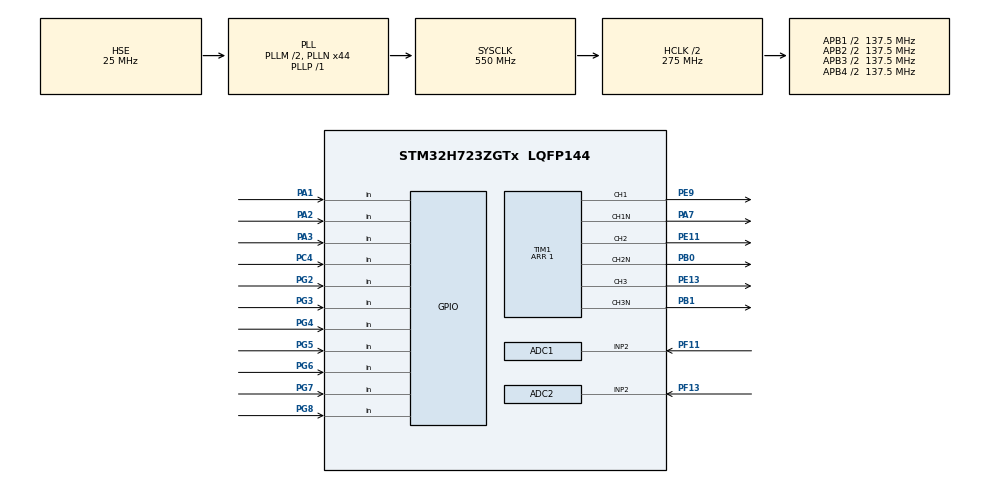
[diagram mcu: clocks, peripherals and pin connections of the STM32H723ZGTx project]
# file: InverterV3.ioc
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ADC1.Channel-3\#ChannelRegularConversion=ADC_CHANNEL_2
ADC1.ClockPrescaler=ADC_CLOCK_ASYNC_DIV2
ADC1.NbrOfConversionFlag=1
ADC1.OffsetNumber-3\#ChannelRegularConversion=ADC_OFFSET_NONE
ADC1.OffsetSignedSaturation-3\#ChannelRegularConversion=DISABLE
ADC1.Rank-3\#ChannelRegularConversion=1
ADC1.SamplingTime-3\#ChannelRegularConversion=ADC_SAMPLETIME_1CYCLE_5
ADC1.master=1
ADC2.Channel-0\#ChannelRegularConversion=ADC_CHANNEL_2
ADC2.ClockPrescaler=ADC_CLOCK_ASYNC_DIV2
ADC2.NbrOfConversionFlag=1
ADC2.OffsetNumber-0\#ChannelRegularConversion=ADC_OFFSET_NONE
ADC2.OffsetSignedSaturation-0\#ChannelRegularConversion=DISABLE
ADC2.Rank-0\#ChannelRegularConversion=1
ADC2.SamplingTime-0\#ChannelRegularConversion=ADC_SAMPLETIME_1CYCLE_5
CORTEX_M7.default_mode_Activation=1
Mcu.Family=STM32H7
Mcu.Name=STM32H723ZGTx
Mcu.Package=LQFP144
NVIC.PriorityGroup=NVIC_PRIORITYGROUP_4
PA1.Signal=GPIO_Input
PA2.Signal=GPIO_Input
PA3.Signal=GPIO_Input
PA7.Mode=PWM Generation1 CH1 CH1N
PA7.Signal=TIM1_CH1N
PB0.Mode=PWM Generation2 CH2 CH2N
PB0.Signal=TIM1_CH2N
PB1.Mode=PWM Generation3 CH3 CH3N
PB1.Signal=TIM1_CH3N
PC14-OSC32_IN.Mode=LSE-External-Oscillator
PC14-OSC32_IN.Signal=RCC_OSC32_IN
PC15-OSC32_OUT.Mode=LSE-External-Oscillator
PC15-OSC32_OUT.Signal=RCC_OSC32_OUT
PC4.Signal=GPIO_Input
PE11.Signal=S_TIM1_CH2
PE13.Signal=S_TIM1_CH3
PE9.Signal=S_TIM1_CH1
PF11.Mode=IN2-Single-Ended
PF11.Signal=ADC1_INP2
PF13.Mode=IN2-Single-Ended
PF13.Signal=ADC2_INP2
PG2.Signal=GPIO_Input
PG3.Signal=GPIO_Input
PG4.Signal=GPIO_Input
PG5.Signal=GPIO_Input
PG6.Signal=GPIO_Input
PG7.Signal=GPIO_Input
PG8.Signal=GPIO_Input
PH0-OSC_IN.Mode=HSE-External-Oscillator
PH0-OSC_IN.Signal=RCC_OSC_IN
PH1-OSC_OUT.Mode=HSE-External-Oscillator
PH1-OSC_OUT.Signal=RCC_OSC_OUT
ProjectManager.HeapSize=0x200
ProjectManager.StackSize=0x400
ProjectManager.TargetToolchain=STM32CubeIDE
RCC.ADCFreq_Value=160000000
RCC.APB1Freq_Value=137500000
RCC.APB2Freq_Value=137500000
RCC.APB3Freq_Value=137500000
RCC.APB4Freq_Value=137500000
RCC.CortexFreq_Value=550000000
RCC.D1PPRE=RCC_APB3_DIV2
RCC.D2PPRE1=RCC_APB1_DIV2
RCC.D2PPRE2=RCC_APB2_DIV2
RCC.D3PPRE=RCC_APB4_DIV2
RCC.DIVM1=2
RCC.DIVM2=5
RCC.DIVM3=2
RCC.DIVN1=44
RCC.DIVN2=64
RCC.DIVN3=40
RCC.DIVP1=1
RCC.HCLKFreq_Value=275000000
RCC.HPRE=RCC_HCLK_DIV2
RCC.PLL2FRACN=0
RCC.PLL3FRACN=0
RCC.PLLFRACN=0
RCC.PLLSourceVirtual=RCC_PLLSOURCE_HSE
RCC.SPI123CLockSelection=RCC_SPI123CLKSOURCE_PLL3
RCC.SYSCLKFreq_VALUE=550000000
RCC.SYSCLKSource=RCC_SYSCLKSOURCE_PLLCLK
RCC.USBFreq_Value=275000000
SH.S_TIM1_CH1.0=TIM1_CH1,PWM Generation1 CH1 CH1N
SH.S_TIM1_CH2.0=TIM1_CH2,PWM Generation2 CH2 CH2N
SH.S_TIM1_CH3.0=TIM1_CH3,PWM Generation3 CH3 CH3N
TIM1.Channel-PWM\ Generation1\ CH1\ CH1N=TIM_CHANNEL_1
TIM1.Channel-PWM\ Generation2\ CH2\ CH2N=TIM_CHANNEL_2
TIM1.Channel-PWM\ Generation3\ CH3\ CH3N=TIM_CHANNEL_3
TIM1.Period=1
TIM2.Prescaler=274
VP_MEMORYMAP_VS_MEMORYMAP.Mode=CurAppReg
VP_TIM1_VS_ClockSourceINT.Mode=Internal
VP_TIM2_VS_ClockSourceINT.Mode=Internal
board=custom

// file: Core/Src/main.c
/* USER CODE BEGIN Header */
/**
  ******************************************************************************
  * @file           : main.c
  * @brief          : Main program body
  ******************************************************************************
  * @attention
  *
  * Copyright (c) 2026 STMicroelectronics.
  * All rights reserved.
  *
  * This software is licensed under terms that can be found in the LICENSE file
  * in the root directory of this software component.
  * If no LICENSE file comes with this software, it is provided AS-IS.
  *
  ******************************************************************************
  */
/* USER CODE END Header */
#include "main.h"

/* USER CODE BEGIN Includes */

#include "current_sensing.h"
#include "cooling.h"
/* USER CODE END Includes */

ADC_HandleTypeDef hadc1;
ADC_HandleTypeDef hadc2;

TIM_HandleTypeDef htim1;
TIM_HandleTypeDef htim2;

void SystemClock_Config(void);
void PeriphCommonClock_Config(void);
static void MPU_Config(void);
static void MX_GPIO_Init(void);
static void MX_TIM1_Init(void);
static void MX_TIM2_Init(void);
static void MX_ADC1_Init(void);
static void MX_ADC2_Init(void);

int main(void)
{

  /* USER CODE BEGIN 1 */
	const double interval_duration = 1.0/1000000.0;
	double dt;
  /* USER CODE END 1 */

  /* MPU Configuration--------------------------------------------------------*/
  MPU_Config();

  /* MCU Configuration--------------------------------------------------------*/

  /* Reset of all peripherals, Initializes the Flash interface and the Systick. */
  HAL_Init();

  /* Configure the system clock */
  SystemClock_Config();

  /* Configure the peripherals common clocks */
  PeriphCommonClock_Config();

  /* Initialize all configured peripherals */
  MX_GPIO_Init();
  MX_TIM1_Init();
  MX_TIM2_Init();
  MX_ADC1_Init();
  MX_ADC2_Init();
  /* USER CODE BEGIN 2 */

    initialize_current_sensing();
    cooling_initialize();
    controller_initialize();

	HAL_TIM_PWM_Start(&htim1, TIM_CHANNEL_1);
	HAL_TIM_PWM_Start(&htim1, TIM_CHANNEL_2);
	HAL_TIM_PWM_Start(&htim1, TIM_CHANNEL_3);
	HAL_TIMEx_PWMN_Start(&htim1, TIM_CHANNEL_1);
	HAL_TIMEx_PWMN_Start(&htim1, TIM_CHANNEL_2);
	HAL_TIMEx_PWMN_Start(&htim1, TIM_CHANNEL_3);

	HAL_TIM_Base_Start_IT(&htim2);

	turn_on_fan();
  /* USER CODE END 2 */

  /* Infinite loop */
  /* USER CODE BEGIN WHILE */
  while (1)
  {
	  dt = TIM2->CNT * interval_duration;
	  TIM2->CNT = 0;
	  update_stats(dt);
	  modulate();
    /* USER CODE END WHILE */

  }
}

void SystemClock_Config(void)
{
  RCC_OscInitTypeDef RCC_OscInitStruct = {0};
  RCC_ClkInitTypeDef RCC_ClkInitStruct = {0};

  /** Supply configuration update enable
  */
  HAL_PWREx_ConfigSupply(PWR_LDO_SUPPLY);

  /** Configure the main internal regulator output voltage
  */
  __HAL_PWR_VOLTAGESCALING_CONFIG(PWR_REGULATOR_VOLTAGE_SCALE0);

  while(!__HAL_PWR_GET_FLAG(PWR_FLAG_VOSRDY)) {}

  /** Initializes the RCC Oscillators according to the specified parameters
  * in the RCC_OscInitTypeDef structure.
  */
  RCC_OscInitStruct.OscillatorType = RCC_OSCILLATORTYPE_HSE;
  RCC_OscInitStruct.HSEState = RCC_HSE_ON;
  RCC_OscInitStruct.PLL.PLLState = RCC_PLL_ON;
  RCC_OscInitStruct.PLL.PLLSource = RCC_PLLSOURCE_HSE;
  RCC_OscInitStruct.PLL.PLLM = 2;
  RCC_OscInitStruct.PLL.PLLN = 44;
  RCC_OscInitStruct.PLL.PLLP = 1;
  RCC_OscInitStruct.PLL.PLLQ = 2;
  RCC_OscInitStruct.PLL.PLLR = 2;
  RCC_OscInitStruct.PLL.PLLRGE = RCC_PLL1VCIRANGE_3;
  RCC_OscInitStruct.PLL.PLLVCOSEL = RCC_PLL1VCOWIDE;
  RCC_OscInitStruct.PLL.PLLFRACN = 0;
  if (HAL_RCC_OscConfig(&RCC_OscInitStruct) != HAL_OK)
  {
    Error_Handler();
  }

  /** Initializes the CPU, AHB and APB buses clocks
  */
  RCC_ClkInitStruct.ClockType = RCC_CLOCKTYPE_HCLK|RCC_CLOCKTYPE_SYSCLK
                              |RCC_CLOCKTYPE_PCLK1|RCC_CLOCKTYPE_PCLK2
                              |RCC_CLOCKTYPE_D3PCLK1|RCC_CLOCKTYPE_D1PCLK1;
  RCC_ClkInitStruct.SYSCLKSource = RCC_SYSCLKSOURCE_PLLCLK;
  RCC_ClkInitStruct.SYSCLKDivider = RCC_SYSCLK_DIV1;
  RCC_ClkInitStruct.AHBCLKDivider = RCC_HCLK_DIV2;
  RCC_ClkInitStruct.APB3CLKDivider = RCC_APB3_DIV2;
  RCC_ClkInitStruct.APB1CLKDivider = RCC_APB1_DIV2;
  RCC_ClkInitStruct.APB2CLKDivider = RCC_APB2_DIV2;
  RCC_ClkInitStruct.APB4CLKDivider = RCC_APB4_DIV2;

  if (HAL_RCC_ClockConfig(&RCC_ClkInitStruct, FLASH_LATENCY_3) != HAL_OK)
  {
    Error_Handler();
  }
}

void PeriphCommonClock_Config(void)
{
  RCC_PeriphCLKInitTypeDef PeriphClkInitStruct = {0};

  /** Initializes the peripherals clock
  */
  PeriphClkInitStruct.PeriphClockSelection = RCC_PERIPHCLK_ADC;
  PeriphClkInitStruct.PLL2.PLL2M = 5;
  PeriphClkInitStruct.PLL2.PLL2N = 64;
  PeriphClkInitStruct.PLL2.PLL2P = 2;
  PeriphClkInitStruct.PLL2.PLL2Q = 2;
  PeriphClkInitStruct.PLL2.PLL2R = 2;
  PeriphClkInitStruct.PLL2.PLL2RGE = RCC_PLL2VCIRANGE_2;
  PeriphClkInitStruct.PLL2.PLL2VCOSEL = RCC_PLL2VCOWIDE;
  PeriphClkInitStruct.PLL2.PLL2FRACN = 0;
  PeriphClkInitStruct.AdcClockSelection = RCC_ADCCLKSOURCE_PLL2;
  if (HAL_RCCEx_PeriphCLKConfig(&PeriphClkInitStruct) != HAL_OK)
  {
    Error_Handler();
  }
}

static void MX_ADC1_Init(void)
{

  ADC_MultiModeTypeDef multimode = {0};
  ADC_ChannelConfTypeDef sConfig = {0};

  /** Common config
  */
  hadc1.Instance = ADC1;
  hadc1.Init.ClockPrescaler = ADC_CLOCK_ASYNC_DIV2;
  hadc1.Init.Resolution = ADC_RESOLUTION_16B;
  hadc1.Init.ScanConvMode = ADC_SCAN_DISABLE;
  hadc1.Init.EOCSelection = ADC_EOC_SINGLE_CONV;
  hadc1.Init.LowPowerAutoWait = DISABLE;
  hadc1.Init.ContinuousConvMode = DISABLE;
  hadc1.Init.NbrOfConversion = 1;
  hadc1.Init.DiscontinuousConvMode = DISABLE;
  hadc1.Init.ExternalTrigConv = ADC_SOFTWARE_START;
  hadc1.Init.ExternalTrigConvEdge = ADC_EXTERNALTRIGCONVEDGE_NONE;
  hadc1.Init.ConversionDataManagement = ADC_CONVERSIONDATA_DR;
  hadc1.Init.Overrun = ADC_OVR_DATA_PRESERVED;
  hadc1.Init.LeftBitShift = ADC_LEFTBITSHIFT_NONE;
  hadc1.Init.OversamplingMode = DISABLE;
  hadc1.Init.Oversampling.Ratio = 1;
  if (HAL_ADC_Init(&hadc1) != HAL_OK)
  {
    Error_Handler();
  }

  /** Configure the ADC multi-mode
  */
  multimode.Mode = ADC_MODE_INDEPENDENT;
  if (HAL_ADCEx_MultiModeConfigChannel(&hadc1, &multimode) != HAL_OK)
  {
    Error_Handler();
  }

  /** Configure Regular Channel
  */
  sConfig.Channel = ADC_CHANNEL_2;
  sConfig.Rank = ADC_REGULAR_RANK_1;
  sConfig.SamplingTime = ADC_SAMPLETIME_1CYCLE_5;
  sConfig.SingleDiff = ADC_SINGLE_ENDED;
  sConfig.OffsetNumber = ADC_OFFSET_NONE;
  sConfig.Offset = 0;
  sConfig.OffsetSignedSaturation = DISABLE;
  if (HAL_ADC_ConfigChannel(&hadc1, &sConfig) != HAL_OK)
  {
    Error_Handler();
  }

}

static void MX_ADC2_Init(void)
{

  ADC_ChannelConfTypeDef sConfig = {0};

  /** Common config
  */
  hadc2.Instance = ADC2;
  hadc2.Init.ClockPrescaler = ADC_CLOCK_ASYNC_DIV2;
  hadc2.Init.Resolution = ADC_RESOLUTION_16B;
  hadc2.Init.ScanConvMode = ADC_SCAN_DISABLE;
  hadc2.Init.EOCSelection = ADC_EOC_SINGLE_CONV;
  hadc2.Init.LowPowerAutoWait = DISABLE;
  hadc2.Init.ContinuousConvMode = DISABLE;
  hadc2.Init.NbrOfConversion = 1;
  hadc2.Init.DiscontinuousConvMode = DISABLE;
  hadc2.Init.ExternalTrigConv = ADC_SOFTWARE_START;
  hadc2.Init.ExternalTrigConvEdge = ADC_EXTERNALTRIGCONVEDGE_NONE;
  hadc2.Init.ConversionDataManagement = ADC_CONVERSIONDATA_DR;
  hadc2.Init.Overrun = ADC_OVR_DATA_PRESERVED;
  hadc2.Init.LeftBitShift = ADC_LEFTBITSHIFT_NONE;
  hadc2.Init.OversamplingMode = DISABLE;
  hadc2.Init.Oversampling.Ratio = 1;
  if (HAL_ADC_Init(&hadc2) != HAL_OK)
  {
    Error_Handler();
  }

  /** Configure Regular Channel
  */
  sConfig.Channel = ADC_CHANNEL_2;
  sConfig.Rank = ADC_REGULAR_RANK_1;
  sConfig.SamplingTime = ADC_SAMPLETIME_1CYCLE_5;
  sConfig.SingleDiff = ADC_SINGLE_ENDED;
  sConfig.OffsetNumber = ADC_OFFSET_NONE;
  sConfig.Offset = 0;
  sConfig.OffsetSignedSaturation = DISABLE;
  if (HAL_ADC_ConfigChannel(&hadc2, &sConfig) != HAL_OK)
  {
    Error_Handler();
  }

}

static void MX_TIM1_Init(void)
{

  TIM_ClockConfigTypeDef sClockSourceConfig = {0};
  TIM_MasterConfigTypeDef sMasterConfig = {0};
  TIM_OC_InitTypeDef sConfigOC = {0};
  TIM_BreakDeadTimeConfigTypeDef sBreakDeadTimeConfig = {0};

  htim1.Instance = TIM1;
  htim1.Init.Prescaler = 0;
  htim1.Init.CounterMode = TIM_COUNTERMODE_UP;
  htim1.Init.Period = 1;
  htim1.Init.ClockDivision = TIM_CLOCKDIVISION_DIV1;
  htim1.Init.RepetitionCounter = 0;
  htim1.Init.AutoReloadPreload = TIM_AUTORELOAD_PRELOAD_DISABLE;
  if (HAL_TIM_Base_Init(&htim1) != HAL_OK)
  {
    Error_Handler();
  }
  sClockSourceConfig.ClockSource = TIM_CLOCKSOURCE_INTERNAL;
  if (HAL_TIM_ConfigClockSource(&htim1, &sClockSourceConfig) != HAL_OK)
  {
    Error_Handler();
  }
  if (HAL_TIM_PWM_Init(&htim1) != HAL_OK)
  {
    Error_Handler();
  }
  sMasterConfig.MasterOutputTrigger = TIM_TRGO_RESET;
  sMasterConfig.MasterOutputTrigger2 = TIM_TRGO2_RESET;
  sMasterConfig.MasterSlaveMode = TIM_MASTERSLAVEMODE_DISABLE;
  if (HAL_TIMEx_MasterConfigSynchronization(&htim1, &sMasterConfig) != HAL_OK)
  {
    Error_Handler();
  }
  sConfigOC.OCMode = TIM_OCMODE_PWM1;
  sConfigOC.Pulse = 0;
  sConfigOC.OCPolarity = TIM_OCPOLARITY_HIGH;
  sConfigOC.OCNPolarity = TIM_OCNPOLARITY_HIGH;
  sConfigOC.OCFastMode = TIM_OCFAST_DISABLE;
  sConfigOC.OCIdleState = TIM_OCIDLESTATE_RESET;
  sConfigOC.OCNIdleState = TIM_OCNIDLESTATE_RESET;
  if (HAL_TIM_PWM_ConfigChannel(&htim1, &sConfigOC, TIM_CHANNEL_1) != HAL_OK)
  {
    Error_Handler();
  }
  if (HAL_TIM_PWM_ConfigChannel(&htim1, &sConfigOC, TIM_CHANNEL_2) != HAL_OK)
  {
    Error_Handler();
  }
  if (HAL_TIM_PWM_ConfigChannel(&htim1, &sConfigOC, TIM_CHANNEL_3) != HAL_OK)
  {
    Error_Handler();
  }
  sBreakDeadTimeConfig.OffStateRunMode = TIM_OSSR_DISABLE;
  sBreakDeadTimeConfig.OffStateIDLEMode = TIM_OSSI_DISABLE;
  sBreakDeadTimeConfig.LockLevel = TIM_LOCKLEVEL_OFF;
  sBreakDeadTimeConfig.DeadTime = 0;
  sBreakDeadTimeConfig.BreakState = TIM_BREAK_DISABLE;
  sBreakDeadTimeConfig.BreakPolarity = TIM_BREAKPOLARITY_HIGH;
  sBreakDeadTimeConfig.BreakFilter = 0;
  sBreakDeadTimeConfig.Break2State = TIM_BREAK2_DISABLE;
  sBreakDeadTimeConfig.Break2Polarity = TIM_BREAK2POLARITY_HIGH;
  sBreakDeadTimeConfig.Break2Filter = 0;
  sBreakDeadTimeConfig.AutomaticOutput = TIM_AUTOMATICOUTPUT_DISABLE;
  if (HAL_TIMEx_ConfigBreakDeadTime(&htim1, &sBreakDeadTimeConfig) != HAL_OK)
  {
    Error_Handler();
  }
  HAL_TIM_MspPostInit(&htim1);

}

static void MX_TIM2_Init(void)
{

  TIM_ClockConfigTypeDef sClockSourceConfig = {0};
  TIM_MasterConfigTypeDef sMasterConfig = {0};

  htim2.Instance = TIM2;
  htim2.Init.Prescaler = 274;
  htim2.Init.CounterMode = TIM_COUNTERMODE_UP;
  htim2.Init.Period = 4294967295;
  htim2.Init.ClockDivision = TIM_CLOCKDIVISION_DIV1;
  htim2.Init.AutoReloadPreload = TIM_AUTORELOAD_PRELOAD_DISABLE;
  if (HAL_TIM_Base_Init(&htim2) != HAL_OK)
  {
    Error_Handler();
  }
  sClockSourceConfig.ClockSource = TIM_CLOCKSOURCE_INTERNAL;
  if (HAL_TIM_ConfigClockSource(&htim2, &sClockSourceConfig) != HAL_OK)
  {
    Error_Handler();
  }
  sMasterConfig.MasterOutputTrigger = TIM_TRGO_RESET;
  sMasterConfig.MasterSlaveMode = TIM_MASTERSLAVEMODE_DISABLE;
  if (HAL_TIMEx_MasterConfigSynchronization(&htim2, &sMasterConfig) != HAL_OK)
  {
    Error_Handler();
  }

}

static void MX_GPIO_Init(void)
{
  GPIO_InitTypeDef GPIO_InitStruct = {0};

  /* GPIO Ports Clock Enable */
  __HAL_RCC_GPIOC_CLK_ENABLE();
  __HAL_RCC_GPIOH_CLK_ENABLE();
  __HAL_RCC_GPIOA_CLK_ENABLE();
  __HAL_RCC_GPIOB_CLK_ENABLE();
  __HAL_RCC_GPIOF_CLK_ENABLE();
  __HAL_RCC_GPIOE_CLK_ENABLE();
  __HAL_RCC_GPIOG_CLK_ENABLE();

  /*Configure GPIO pins : PA1 PA2 PA3 */
  GPIO_InitStruct.Pin = GPIO_PIN_1|GPIO_PIN_2|GPIO_PIN_3;
  GPIO_InitStruct.Mode = GPIO_MODE_INPUT;
  GPIO_InitStruct.Pull = GPIO_NOPULL;
  HAL_GPIO_Init(GPIOA, &GPIO_InitStruct);

  /*Configure GPIO pin : PC4 */
  GPIO_InitStruct.Pin = GPIO_PIN_4;
  GPIO_InitStruct.Mode = GPIO_MODE_INPUT;
  GPIO_InitStruct.Pull = GPIO_NOPULL;
  HAL_GPIO_Init(GPIOC, &GPIO_InitStruct);

  /*Configure GPIO pins : PG2 PG3 PG4 PG5
                           PG6 PG7 PG8 */
  GPIO_InitStruct.Pin = GPIO_PIN_2|GPIO_PIN_3|GPIO_PIN_4|GPIO_PIN_5
                          |GPIO_PIN_6|GPIO_PIN_7|GPIO_PIN_8;
  GPIO_InitStruct.Mode = GPIO_MODE_INPUT;
  GPIO_InitStruct.Pull = GPIO_NOPULL;
  HAL_GPIO_Init(GPIOG, &GPIO_InitStruct);

}

 /* MPU Configuration */

void MPU_Config(void)
{
  MPU_Region_InitTypeDef MPU_InitStruct = {0};

  /* Disables the MPU */
  HAL_MPU_Disable();

  /** Initializes and configures the Region and the memory to be protected
  */
  MPU_InitStruct.Enable = MPU_REGION_ENABLE;
  MPU_InitStruct.Number = MPU_REGION_NUMBER0;
  MPU_InitStruct.BaseAddress = 0x0;
  MPU_InitStruct.Size = MPU_REGION_SIZE_4GB;
  MPU_InitStruct.SubRegionDisable = 0x87;
  MPU_InitStruct.TypeExtField = MPU_TEX_LEVEL0;
  MPU_InitStruct.AccessPermission = MPU_REGION_NO_ACCESS;
  MPU_InitStruct.DisableExec = MPU_INSTRUCTION_ACCESS_DISABLE;
  MPU_InitStruct.IsShareable = MPU_ACCESS_SHAREABLE;
  MPU_InitStruct.IsCacheable = MPU_ACCESS_NOT_CACHEABLE;
  MPU_InitStruct.IsBufferable = MPU_ACCESS_NOT_BUFFERABLE;

  HAL_MPU_ConfigRegion(&MPU_InitStruct);
  /* Enables the MPU */
  HAL_MPU_Enable(MPU_PRIVILEGED_DEFAULT);

}

void Error_Handler(void)
{
  __disable_irq();
  while (1)
  {
  }
}
